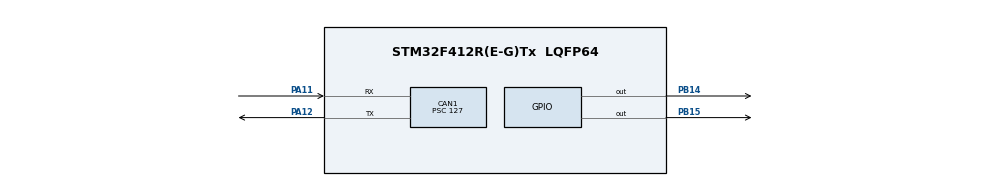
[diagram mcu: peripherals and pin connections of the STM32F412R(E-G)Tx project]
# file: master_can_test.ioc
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CAN1.CalculateBaudRate=41994
CAN1.CalculateTimeBit=23812
CAN1.CalculateTimeQuantum=7937.5
CAN1.Mode=CAN_MODE_SILENT_LOOPBACK
CAN1.Prescaler=127
Mcu.Family=STM32F4
Mcu.Name=STM32F412R(E-G)Tx
Mcu.Package=LQFP64
NVIC.CAN1_RX1_IRQn=true\:0\:0\:false\:false\:true\:true\:true\:true
NVIC.PriorityGroup=NVIC_PRIORITYGROUP_4
NVIC.TIM2_IRQn=true\:0\:0\:false\:false\:true\:true\:true\:true
PA11.Mode=CAN_Activate
PA11.Signal=CAN1_RX
PA12.Mode=CAN_Activate
PA12.Signal=CAN1_TX
PB14.Signal=GPIO_Output
PB15.Signal=GPIO_Output
ProjectManager.HeapSize=0x200
ProjectManager.StackSize=0x400
ProjectManager.TargetToolchain=STM32CubeIDE
RCC.CortexFreq_Value=16000000
RCC.USBFreq_Value=96000000
RCC.VCOOutputFreq_Value=192000000
TIM2.Period=4800
TIM2.Prescaler=999
VP_TIM2_VS_ClockSourceINT.Mode=Internal
board=custom

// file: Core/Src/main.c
/* USER CODE BEGIN Header */
/**
  ******************************************************************************
  * @file           : main.c
  * @brief          : Main program body
  ******************************************************************************
  * @attention
  *
  * Copyright (c) 2025 STMicroelectronics.
  * All rights reserved.
  *
  * This software is licensed under terms that can be found in the LICENSE file
  * in the root directory of this software component.
  * If no LICENSE file comes with this software, it is provided AS-IS.
  *
  ******************************************************************************
  */
/* USER CODE END Header */
#include "main.h"

/* USER CODE BEGIN PD */
#define YELLOW_LED_Pin GPIO_PIN_14
#define YELLOW_LED_GPIO_Port GPIOB
#define RED_LED_Pin GPIO_PIN_15
#define RED_LED_GPIO_Port GPIOB
/* USER CODE END PD */

CAN_HandleTypeDef hcan1;

TIM_HandleTypeDef htim2;

/* USER CODE BEGIN PV */
uint8_t RxData[1] = {0};
CAN_RxHeaderTypeDef RxHeader;
/* USER CODE END PV */

void SystemClock_Config(void);
static void MX_GPIO_Init(void);
static void MX_TIM2_Init(void);
static void MX_CAN1_Init(void);

int main(void)
{

  /* MCU Configuration--------------------------------------------------------*/

  /* Reset of all peripherals, Initializes the Flash interface and the Systick. */
  HAL_Init();

  /* Configure the system clock */
  SystemClock_Config();

  /* Initialize all configured peripherals */
  MX_GPIO_Init();
  MX_TIM2_Init();
  MX_CAN1_Init();
  /* USER CODE BEGIN 2 */
  CAN_FilterTypeDef filter;
  filter.FilterActivation = DISABLE;
  filter.FilterBank = 0;
  filter.FilterFIFOAssignment = CAN_FILTER_FIFO0;
  filter.FilterIdHigh = 0x0000;
  filter.FilterIdLow = 0x0000;
  filter.FilterMaskIdHigh = 0x0000;
  filter.FilterMaskIdLow = 0x0000;
  filter.FilterMode = CAN_FILTERMODE_IDMASK;
  filter.FilterScale = CAN_FILTERSCALE_32BIT;

  if (HAL_CAN_ConfigFilter(&hcan1, &filter) != HAL_OK)
  {
  }

//  if (HAL_CAN_ConfigFilter(&hcan2, &filter) != HAL_OK)
//  {
//  }

  HAL_CAN_ActivateNotification(&hcan1, CAN_IT_RX_FIFO0_MSG_PENDING);
//  HAL_CAN_ActivateNotification(&hcan2, CAN_IT_RX_FIFO0_MSG_PENDING);

  HAL_CAN_Start(&hcan1);
//  HAL_CAN_Start(&hcan2);

  HAL_TIM_Base_Start_IT(&htim2);

  uint8_t TxData1[1] = {1};
  uint8_t TxData2[1] = {2};

  CAN_TxHeaderTypeDef	TxHeader;
  uint32_t	TxMailbox;

  TxHeader.IDE = CAN_ID_STD;
  TxHeader.StdId = 0x111;
  TxHeader.RTR = CAN_RTR_DATA;
  TxHeader.DLC = 1;

  /* USER CODE END 2 */

  /* Infinite loop */
  while (1)
  {

    /* USER CODE BEGIN 3 */

	  TxHeader.StdId = 0x111;
	  if (HAL_CAN_AddTxMessage(&hcan1, &TxHeader, TxData1, &TxMailbox) != HAL_OK) {}

//	  TxHeader.StdId = 0x222;
//	  if (HAL_CAN_AddTxMessage(&hcan2, &TxHeader, TxData2, &TxMailbox) != HAL_OK) {}

	  while(HAL_CAN_GetRxFifoFillLevel(&hcan1, CAN_RX_FIFO0) == 0) {
//	      HAL_CAN_GetRxMessage(&hcan2, CAN_RX_FIFO0, &RxHeader, RxData);
		  HAL_Delay(10);

	  }

	  TxData1[0]++;
	  TxData2[0] += 2;

	  HAL_Delay(100);
  }
  /* USER CODE END 3 */
}

void SystemClock_Config(void)
{
  RCC_OscInitTypeDef RCC_OscInitStruct = {0};
  RCC_ClkInitTypeDef RCC_ClkInitStruct = {0};

  /** Configure the main internal regulator output voltage
  */
  __HAL_RCC_PWR_CLK_ENABLE();
  __HAL_PWR_VOLTAGESCALING_CONFIG(PWR_REGULATOR_VOLTAGE_SCALE1);

  /** Initializes the RCC Oscillators according to the specified parameters
  * in the RCC_OscInitTypeDef structure.
  */
  RCC_OscInitStruct.OscillatorType = RCC_OSCILLATORTYPE_HSI;
  RCC_OscInitStruct.HSIState = RCC_HSI_ON;
  RCC_OscInitStruct.HSICalibrationValue = RCC_HSICALIBRATION_DEFAULT;
  RCC_OscInitStruct.PLL.PLLState = RCC_PLL_NONE;
  if (HAL_RCC_OscConfig(&RCC_OscInitStruct) != HAL_OK)
  {
    Error_Handler();
  }

  /** Initializes the CPU, AHB and APB buses clocks
  */
  RCC_ClkInitStruct.ClockType = RCC_CLOCKTYPE_HCLK|RCC_CLOCKTYPE_SYSCLK
                              |RCC_CLOCKTYPE_PCLK1|RCC_CLOCKTYPE_PCLK2;
  RCC_ClkInitStruct.SYSCLKSource = RCC_SYSCLKSOURCE_HSI;
  RCC_ClkInitStruct.AHBCLKDivider = RCC_SYSCLK_DIV1;
  RCC_ClkInitStruct.APB1CLKDivider = RCC_HCLK_DIV1;
  RCC_ClkInitStruct.APB2CLKDivider = RCC_HCLK_DIV1;

  if (HAL_RCC_ClockConfig(&RCC_ClkInitStruct, FLASH_LATENCY_0) != HAL_OK)
  {
    Error_Handler();
  }
}

static void MX_CAN1_Init(void)
{

  hcan1.Instance = CAN1;
  hcan1.Init.Prescaler = 127;
  hcan1.Init.Mode = CAN_MODE_SILENT_LOOPBACK;
  hcan1.Init.SyncJumpWidth = CAN_SJW_1TQ;
  hcan1.Init.TimeSeg1 = CAN_BS1_1TQ;
  hcan1.Init.TimeSeg2 = CAN_BS2_1TQ;
  hcan1.Init.TimeTriggeredMode = DISABLE;
  hcan1.Init.AutoBusOff = DISABLE;
  hcan1.Init.AutoWakeUp = DISABLE;
  hcan1.Init.AutoRetransmission = DISABLE;
  hcan1.Init.ReceiveFifoLocked = DISABLE;
  hcan1.Init.TransmitFifoPriority = DISABLE;
  if (HAL_CAN_Init(&hcan1) != HAL_OK)
  {
    Error_Handler();
  }

}

static void MX_TIM2_Init(void)
{

  TIM_ClockConfigTypeDef sClockSourceConfig = {0};
  TIM_MasterConfigTypeDef sMasterConfig = {0};

  htim2.Instance = TIM2;
  htim2.Init.Prescaler = 999;
  htim2.Init.CounterMode = TIM_COUNTERMODE_UP;
  htim2.Init.Period = 4800;
  htim2.Init.ClockDivision = TIM_CLOCKDIVISION_DIV1;
  htim2.Init.AutoReloadPreload = TIM_AUTORELOAD_PRELOAD_DISABLE;
  if (HAL_TIM_Base_Init(&htim2) != HAL_OK)
  {
    Error_Handler();
  }
  sClockSourceConfig.ClockSource = TIM_CLOCKSOURCE_INTERNAL;
  if (HAL_TIM_ConfigClockSource(&htim2, &sClockSourceConfig) != HAL_OK)
  {
    Error_Handler();
  }
  sMasterConfig.MasterOutputTrigger = TIM_TRGO_RESET;
  sMasterConfig.MasterSlaveMode = TIM_MASTERSLAVEMODE_DISABLE;
  if (HAL_TIMEx_MasterConfigSynchronization(&htim2, &sMasterConfig) != HAL_OK)
  {
    Error_Handler();
  }

}

static void MX_GPIO_Init(void)
{
  GPIO_InitTypeDef GPIO_InitStruct = {0};

  /* GPIO Ports Clock Enable */
  __HAL_RCC_GPIOB_CLK_ENABLE();
  __HAL_RCC_GPIOA_CLK_ENABLE();

  /*Configure GPIO pin Output Level */
  HAL_GPIO_WritePin(GPIOB, GPIO_PIN_14|GPIO_PIN_15, GPIO_PIN_RESET);

  /*Configure GPIO pins : PB14 PB15 */
  GPIO_InitStruct.Pin = GPIO_PIN_14|GPIO_PIN_15;
  GPIO_InitStruct.Mode = GPIO_MODE_OUTPUT_PP;
  GPIO_InitStruct.Pull = GPIO_NOPULL;
  GPIO_InitStruct.Speed = GPIO_SPEED_FREQ_LOW;
  HAL_GPIO_Init(GPIOB, &GPIO_InitStruct);

}

/* USER CODE BEGIN 4 */
void HAL_CAN_RxFifo0MsgPendingCallback(CAN_HandleTypeDef *hcan)
{
//	slave_return_t return_message;
    if (HAL_CAN_GetRxMessage(hcan, CAN_RX_FIFO0, &RxHeader, RxData) == HAL_OK)
    {
//    	Start timer and turn ON Yellow LED
		HAL_GPIO_TogglePin(RED_LED_GPIO_Port, RED_LED_Pin); // Toggle LED

//    	HAL_GPIO_TogglePin(YELLOW_LED_GPIO_Port, YELLOW_LED_Pin);
    }
}

void HAL_TIM_PeriodElapsedCallback(TIM_HandleTypeDef *htim) {

	if (htim->Instance == TIM2) {  // Check if it's the correct timer

//		HAL_GPIO_TogglePin(RED_LED_GPIO_Port, RED_LED_Pin); // Toggle LED
    	HAL_GPIO_TogglePin(YELLOW_LED_GPIO_Port, YELLOW_LED_Pin);

	}

}
/* USER CODE END 4 */

void Error_Handler(void)
{
  __disable_irq();
  while (1)
  {
  }
}
